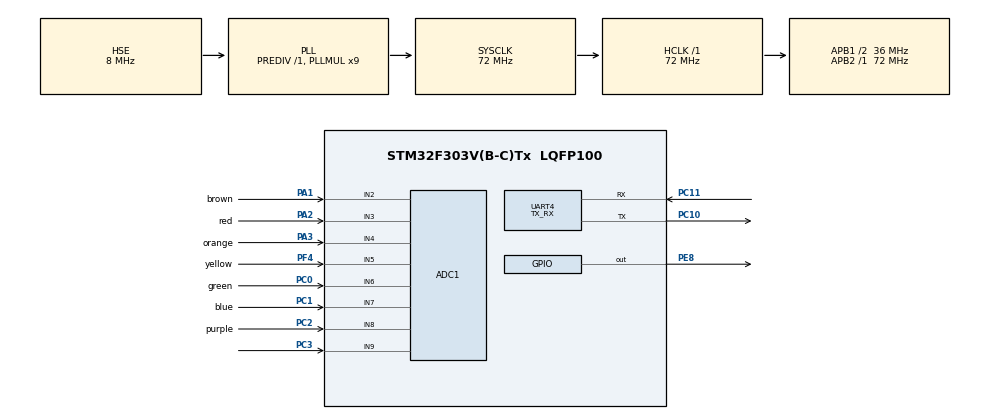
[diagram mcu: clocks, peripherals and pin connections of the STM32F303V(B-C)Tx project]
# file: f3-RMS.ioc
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ADC1.Channel-1\#ChannelRegularConversion=ADC_CHANNEL_2
ADC1.Channel-2\#ChannelRegularConversion=ADC_CHANNEL_3
ADC1.Channel-3\#ChannelRegularConversion=ADC_CHANNEL_4
ADC1.Channel-4\#ChannelRegularConversion=ADC_CHANNEL_5
ADC1.Channel-5\#ChannelRegularConversion=ADC_CHANNEL_6
ADC1.Channel-6\#ChannelRegularConversion=ADC_CHANNEL_7
ADC1.Channel-7\#ChannelRegularConversion=ADC_CHANNEL_8
ADC1.Channel-8\#ChannelRegularConversion=ADC_CHANNEL_9
ADC1.DMAContinuousRequests=ENABLE
ADC1.NbrOfConversion=8
ADC1.NbrOfConversionFlag=1
ADC1.Offset-1\#ChannelRegularConversion=0
ADC1.Offset-2\#ChannelRegularConversion=0
ADC1.Offset-3\#ChannelRegularConversion=0
ADC1.Offset-4\#ChannelRegularConversion=0
ADC1.Offset-5\#ChannelRegularConversion=0
ADC1.Offset-6\#ChannelRegularConversion=0
ADC1.Offset-7\#ChannelRegularConversion=0
ADC1.Offset-8\#ChannelRegularConversion=0
ADC1.OffsetNumber-1\#ChannelRegularConversion=ADC_OFFSET_NONE
ADC1.OffsetNumber-2\#ChannelRegularConversion=ADC_OFFSET_NONE
ADC1.OffsetNumber-3\#ChannelRegularConversion=ADC_OFFSET_NONE
ADC1.OffsetNumber-4\#ChannelRegularConversion=ADC_OFFSET_NONE
ADC1.OffsetNumber-5\#ChannelRegularConversion=ADC_OFFSET_NONE
ADC1.OffsetNumber-6\#ChannelRegularConversion=ADC_OFFSET_NONE
ADC1.OffsetNumber-7\#ChannelRegularConversion=ADC_OFFSET_NONE
ADC1.OffsetNumber-8\#ChannelRegularConversion=ADC_OFFSET_NONE
ADC1.Rank-1\#ChannelRegularConversion=1
ADC1.Rank-2\#ChannelRegularConversion=2
ADC1.Rank-3\#ChannelRegularConversion=3
ADC1.Rank-4\#ChannelRegularConversion=4
ADC1.Rank-5\#ChannelRegularConversion=5
ADC1.Rank-6\#ChannelRegularConversion=6
ADC1.Rank-7\#ChannelRegularConversion=7
ADC1.Rank-8\#ChannelRegularConversion=8
ADC1.SamplingTime-1\#ChannelRegularConversion=ADC_SAMPLETIME_181CYCLES_5
ADC1.SamplingTime-2\#ChannelRegularConversion=ADC_SAMPLETIME_181CYCLES_5
ADC1.SamplingTime-3\#ChannelRegularConversion=ADC_SAMPLETIME_181CYCLES_5
ADC1.SamplingTime-4\#ChannelRegularConversion=ADC_SAMPLETIME_181CYCLES_5
ADC1.SamplingTime-5\#ChannelRegularConversion=ADC_SAMPLETIME_181CYCLES_5
ADC1.SamplingTime-6\#ChannelRegularConversion=ADC_SAMPLETIME_181CYCLES_5
ADC1.SamplingTime-7\#ChannelRegularConversion=ADC_SAMPLETIME_181CYCLES_5
ADC1.SamplingTime-8\#ChannelRegularConversion=ADC_SAMPLETIME_181CYCLES_5
ADC1.SamplingTimeOPAMP-8\#ChannelRegularConversion=ADC_SAMPLETIME_61CYCLES_5
ADC1.SequencerNbRanks=1
ADC1.master=1
Dma.ADC1.0.Direction=DMA_PERIPH_TO_MEMORY
Dma.ADC1.0.Instance=DMA1_Channel1
Dma.ADC1.0.MemDataAlignment=DMA_MDATAALIGN_HALFWORD
Dma.ADC1.0.MemInc=DMA_MINC_ENABLE
Dma.ADC1.0.Mode=DMA_CIRCULAR
Dma.ADC1.0.PeriphDataAlignment=DMA_PDATAALIGN_HALFWORD
Dma.ADC1.0.PeriphInc=DMA_PINC_DISABLE
Dma.ADC1.0.Priority=DMA_PRIORITY_LOW
Dma.Request0=ADC1
Dma.Request1=UART4_RX
Dma.Request2=UART4_TX
Dma.UART4_RX.1.Direction=DMA_PERIPH_TO_MEMORY
Dma.UART4_RX.1.Instance=DMA2_Channel3
Dma.UART4_RX.1.MemDataAlignment=DMA_MDATAALIGN_BYTE
Dma.UART4_RX.1.MemInc=DMA_MINC_ENABLE
Dma.UART4_RX.1.Mode=DMA_NORMAL
Dma.UART4_RX.1.PeriphDataAlignment=DMA_PDATAALIGN_BYTE
Dma.UART4_RX.1.PeriphInc=DMA_PINC_DISABLE
Dma.UART4_RX.1.Priority=DMA_PRIORITY_MEDIUM
Dma.UART4_TX.2.Direction=DMA_MEMORY_TO_PERIPH
Dma.UART4_TX.2.Instance=DMA2_Channel5
Dma.UART4_TX.2.MemDataAlignment=DMA_MDATAALIGN_BYTE
Dma.UART4_TX.2.MemInc=DMA_MINC_ENABLE
Dma.UART4_TX.2.Mode=DMA_NORMAL
Dma.UART4_TX.2.PeriphDataAlignment=DMA_PDATAALIGN_BYTE
Dma.UART4_TX.2.PeriphInc=DMA_PINC_DISABLE
Dma.UART4_TX.2.Priority=DMA_PRIORITY_HIGH
Mcu.Family=STM32F3
Mcu.Name=STM32F303V(B-C)Tx
Mcu.Package=LQFP100
NVIC.DMA1_Channel1_IRQn=true\:0\:0\:false\:false\:true\:false\:true\:true
NVIC.DMA2_Channel3_IRQn=true\:0\:0\:false\:false\:true\:false\:true\:true
NVIC.DMA2_Channel5_IRQn=true\:0\:0\:false\:false\:true\:false\:true\:true
NVIC.PriorityGroup=NVIC_PRIORITYGROUP_0
NVIC.UART4_IRQn=true\:0\:0\:false\:false\:true\:true\:true\:true
PA1.GPIO_Label=brown
PA1.Mode=IN2-Single-Ended
PA1.Signal=ADC1_IN2
PA13.Mode=Serial_Wire
PA13.Signal=SYS_JTMS-SWDIO
PA14.Mode=Serial_Wire
PA14.Signal=SYS_JTCK-SWCLK
PA2.GPIO_Label=red
PA2.Mode=IN3-Single-Ended
PA2.Signal=ADC1_IN3
PA3.GPIO_Label=orange
PA3.Mode=IN4-Single-Ended
PA3.Signal=ADC1_IN4
PC0.GPIO_Label=green
PC0.Signal=ADCx_IN6
PC1.GPIO_Label=blue
PC1.Signal=ADCx_IN7
PC10.Mode=Asynchronous
PC10.Signal=UART4_TX
PC11.Mode=Asynchronous
PC11.Signal=UART4_RX
PC2.GPIO_Label=purple
PC2.Signal=ADCx_IN8
PC3.Signal=ADCx_IN9
PE8.Signal=GPIO_Output
PF0-OSC_IN.Mode=HSE-External-Clock-Source
PF0-OSC_IN.Signal=RCC_OSC_IN
PF4.GPIO_Label=yellow
PF4.Mode=IN5-Single-Ended
PF4.Signal=ADC1_IN5
ProjectManager.HeapSize=0x200
ProjectManager.StackSize=0x400
ProjectManager.TargetToolchain=Makefile
RCC.AHBFreq_Value=72000000
RCC.APB1CLKDivider=RCC_HCLK_DIV2
RCC.APB1Freq_Value=36000000
RCC.APB1TimFreq_Value=72000000
RCC.APB2Freq_Value=72000000
RCC.APB2TimFreq_Value=72000000
RCC.CortexFreq_Value=72000000
RCC.HCLKFreq_Value=72000000
RCC.HSE_VALUE=8000000
RCC.HSI_VALUE=8000000
RCC.LSE_VALUE=32768
RCC.PLLMUL=RCC_PLL_MUL9
RCC.PLLSourceVirtual=RCC_PLLSOURCE_HSE
RCC.SYSCLKFreq_VALUE=72000000
RCC.SYSCLKSourceVirtual=RCC_SYSCLKSOURCE_PLLCLK
RCC.USBFreq_Value=72000000
SH.ADCx_IN6.0=ADC1_IN6,IN6-Single-Ended
SH.ADCx_IN7.0=ADC1_IN7,IN7-Single-Ended
SH.ADCx_IN8.0=ADC1_IN8,IN8-Single-Ended
SH.ADCx_IN9.0=ADC1_IN9,IN9-Single-Ended
TIM16.AutoReloadPreload=TIM_AUTORELOAD_PRELOAD_ENABLE
TIM16.Period=20000
TIM16.Prescaler=36000 - 1
UART4.Mode=MODE_TX_RX
VP_TIM16_VS_ClockSourceINT.Mode=Enable_Timer
board=STM32F3DISCOVERY

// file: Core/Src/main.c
/* USER CODE BEGIN Header */
/**
  ******************************************************************************
  * @file           : main.c
  * @brief          : Main program body
  ******************************************************************************
  * @attention
  *
  * Copyright (c) 2022 STMicroelectronics.
  * All rights reserved.
  *
  * This software is licensed under terms that can be found in the LICENSE file
  * in the root directory of this software component.
  * If no LICENSE file comes with this software, it is provided AS-IS.
  *
  ******************************************************************************
  */
/* USER CODE END Header */
#include "main.h"
#include "adc.h"
#include "dma.h"
#include "tim.h"
#include "usart.h"
#include "gpio.h"

/* USER CODE BEGIN Includes */

#include <string.h>
#include <stdio.h>
#include <stdlib.h>

/* USER CODE END Includes */

/* USER CODE BEGIN PD */

//*******************************[Aliases}**************************************
#define ADC_RESOLUTION 4096 // adc resolution 12 bits
#define BUF_SIZE 256 // Size of usart transmit buffer
#define NUM_ADC_CHANNELS 8 // Number of adc channels used for battery voltage measurment [0 to 6 = 7 Total] + total battery voltage
#define NUM_AVG 10 // Number of samples to average per adc channel
#define TOLAL_BAT_VOL_SCALE_FAC 11.357 // The scale factor calculated by 28.2v / 2.483 (At the time of measuring)
/*
72Mhz / 36000 [PRESCALER] = 2Khz timer clock
1 / 2000 = 0.0005s aka 500us per ARR count
20000 * 0.0005s = 10s, so 20000 ARR counts = 10s delay, whats why INTERVAL is 20k
*/
#define INTERVAL 20000

/* USER CODE END PD */

/* USER CODE BEGIN PV */

//*******************************[Global Flags]*********************************
uint8_t txempty;
uint8_t rxfull;
uint8_t startTransmit = 0;

//*******************************[Global Buffers]*******************************
uint8_t rxbuff[8];

//******************************[Global Variables]******************************
uint16_t adcChannelArray[NUM_ADC_CHANNELS]; // Used by dma to store each channel's val in a seperate element
uint16_t batVoltage[NUM_ADC_CHANNELS][NUM_AVG]; // 2d array for bat voltage per channel of X samples
uint16_t avgBatVoltage[NUM_ADC_CHANNELS]; // Final averaged bat voltage and initized with offset for each channel

/* USER CODE END PV */

void SystemClock_Config(void);

int main(void)
{

  /* MCU Configuration--------------------------------------------------------*/

  /* Reset of all peripherals, Initializes the Flash interface and the Systick. */
  HAL_Init();

  /* Configure the system clock */
  SystemClock_Config();

  /* Initialize all configured peripherals */
  MX_GPIO_Init();
  MX_DMA_Init();
  MX_ADC1_Init();
  MX_UART4_Init();
  MX_TIM16_Init();
  /* USER CODE BEGIN 2 */

  char buffer[BUF_SIZE + 1]; // Buffer size = 8bits * buf_size
  memset(buffer, 0 , BUF_SIZE); // Init buffer

  const char format[] = "[ADC1] = %dmv, [ADC2] = %dmv, [ADC3] = %dmv, [ADC4] = %dmv, [ADC5] = %dmv, [ADC6] = %dmv, [ADC7] = %dmv, [BATVOL] = %dmv\r\n";

  HAL_StatusTypeDef ret; // Return error

  ret = HAL_ADCEx_Calibration_Start(&hadc1, ADC_SINGLE_ENDED); // Calibrate ADC on each Startup
  if(ret != HAL_OK) Error_Handler();

  ret = HAL_ADC_Start_DMA(&hadc1, (uint32_t*)adcChannelArray, NUM_ADC_CHANNELS); // Attach adc to dma
  if(ret != HAL_OK) Error_Handler();

  ret = HAL_TIM_Base_Start(&htim16); // Start timer 16
  if(ret != HAL_OK) Error_Handler();

  txempty = 1; // Init tx flag
  uint16_t timerVal = __HAL_TIM_GET_COUNTER(&htim16); // Init timerVal

  /* USER CODE END 2 */

  /* Infinite loop */
  /* USER CODE BEGIN WHILE */
  while (1)
  {
    if(__HAL_TIM_GET_COUNTER(&htim16) - timerVal >= INTERVAL && startTransmit == 1)
    {
      sprintf(buffer, format, avgBatVoltage[0], avgBatVoltage[1], avgBatVoltage[2], avgBatVoltage[3], avgBatVoltage[4], avgBatVoltage[5], avgBatVoltage[6], avgBatVoltage[7]);

      startTransmit = 0; // Reset flag
      while(txempty == 0);
      ret = HAL_UART_Transmit_DMA(&huart4, (uint8_t *)buffer, BUF_SIZE);
      if(ret != HAL_OK) Error_Handler();
      txempty = 0;

      ret = HAL_ADC_Start(&hadc1);
      if(ret != HAL_OK) Error_Handler();

      timerVal = __HAL_TIM_GET_COUNTER(&htim16); // Update with current timer count
    }

    /* USER CODE END WHILE */

  }
}

void SystemClock_Config(void)
{
  RCC_OscInitTypeDef RCC_OscInitStruct = {0};
  RCC_ClkInitTypeDef RCC_ClkInitStruct = {0};
  RCC_PeriphCLKInitTypeDef PeriphClkInit = {0};

  /** Initializes the RCC Oscillators according to the specified parameters
  * in the RCC_OscInitTypeDef structure.
  */
  RCC_OscInitStruct.OscillatorType = RCC_OSCILLATORTYPE_HSE;
  RCC_OscInitStruct.HSEState = RCC_HSE_BYPASS;
  RCC_OscInitStruct.HSEPredivValue = RCC_HSE_PREDIV_DIV1;
  RCC_OscInitStruct.HSIState = RCC_HSI_ON;
  RCC_OscInitStruct.PLL.PLLState = RCC_PLL_ON;
  RCC_OscInitStruct.PLL.PLLSource = RCC_PLLSOURCE_HSE;
  RCC_OscInitStruct.PLL.PLLMUL = RCC_PLL_MUL9;
  if (HAL_RCC_OscConfig(&RCC_OscInitStruct) != HAL_OK)
  {
    Error_Handler();
  }

  /** Initializes the CPU, AHB and APB buses clocks
  */
  RCC_ClkInitStruct.ClockType = RCC_CLOCKTYPE_HCLK|RCC_CLOCKTYPE_SYSCLK
                              |RCC_CLOCKTYPE_PCLK1|RCC_CLOCKTYPE_PCLK2;
  RCC_ClkInitStruct.SYSCLKSource = RCC_SYSCLKSOURCE_PLLCLK;
  RCC_ClkInitStruct.AHBCLKDivider = RCC_SYSCLK_DIV1;
  RCC_ClkInitStruct.APB1CLKDivider = RCC_HCLK_DIV2;
  RCC_ClkInitStruct.APB2CLKDivider = RCC_HCLK_DIV1;

  if (HAL_RCC_ClockConfig(&RCC_ClkInitStruct, FLASH_LATENCY_2) != HAL_OK)
  {
    Error_Handler();
  }
  PeriphClkInit.PeriphClockSelection = RCC_PERIPHCLK_UART4|RCC_PERIPHCLK_ADC12;
  PeriphClkInit.Uart4ClockSelection = RCC_UART4CLKSOURCE_PCLK1;
  PeriphClkInit.Adc12ClockSelection = RCC_ADC12PLLCLK_DIV1;
  if (HAL_RCCEx_PeriphCLKConfig(&PeriphClkInit) != HAL_OK)
  {
    Error_Handler();
  }
}

/* USER CODE BEGIN 4 */

//***********************[ISRs}**********************************
void HAL_ADC_ConvCpltCallback(ADC_HandleTypeDef* hadc)
{
  if(hadc == &hadc1)
  {
    uint32_t sum = 0;

    // Building a 7x10 matrix
    for(int j = 0; j < NUM_AVG; ++j)
    {
      for(int i = 0; i < NUM_ADC_CHANNELS; ++i)
        {
          if(i == 7)
            batVoltage[i][j] = TOLAL_BAT_VOL_SCALE_FAC * (2965UL * adcChannelArray[i] / ADC_RESOLUTION); // Conversion of Total battery voltage
          else
            batVoltage[i][j] = 2 * (3000UL * adcChannelArray[i] / ADC_RESOLUTION); // Conversion of battery bank 1-7 and scaling it back after dividing it in hardware
        }
    }

    // Taking average of each colume
    for(int x = 0; x < NUM_ADC_CHANNELS; ++x)
    {
      for(int y = 0; y < NUM_AVG; ++y)
        sum += batVoltage[x][y];

      // Adding offsets to each battery banks
      switch (x)
      {
      case 0:
        avgBatVoltage[x] = 110 + (sum / NUM_AVG);
        break;

      case 1:
        avgBatVoltage[x] = 150 + (sum / NUM_AVG);
        break;

      case 2:
        avgBatVoltage[x] = 130 + (sum / NUM_AVG);
        break;

      case 3:
        avgBatVoltage[x] = 70 + (sum / NUM_AVG);
        break;

      case 4:
        avgBatVoltage[x] = (sum / NUM_AVG) - 40;
        break;

      case 5:
        avgBatVoltage[x] = (sum / NUM_AVG) - 115;
        break;

      case 6:
        avgBatVoltage[x] = 340 + (sum / NUM_AVG);
        break;

      default:
        avgBatVoltage[x] = sum / NUM_AVG; // This one is for the total battery voltage reading
      }
      sum = 0; // Reset sum back to zero
    }

    startTransmit = 1; // Setting the transmit ready flag
  }
}

void HAL_UART_RxCpltCallback(UART_HandleTypeDef *huart)
{
	if (huart == &huart4)
	{
		rxfull = 1;
	}
}

void HAL_UART_TxCpltCallback(UART_HandleTypeDef *huart)
{
	if (huart == &huart4)
	{
		txempty = 1;
	}
}

/* USER CODE END 4 */

void Error_Handler(void)
{
  __disable_irq();
  while (1)
  {
  }
}
